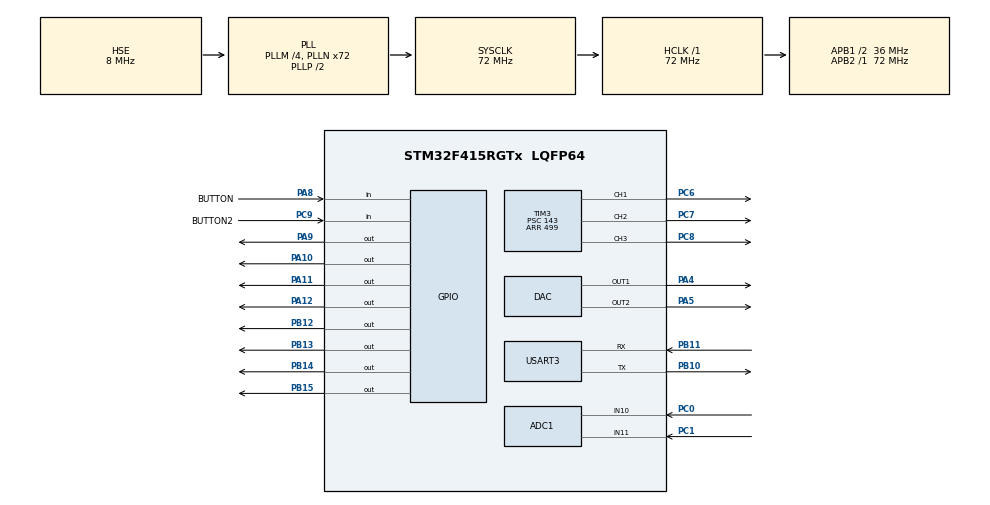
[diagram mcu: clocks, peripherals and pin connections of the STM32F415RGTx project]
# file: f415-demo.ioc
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ADC1.Channel-0\#ChannelRegularConversion=ADC_CHANNEL_10
ADC1.Channel-1\#ChannelRegularConversion=ADC_CHANNEL_11
ADC1.ContinuousConvMode=ENABLE
ADC1.DMAContinuousRequests=ENABLE
ADC1.NbrOfConversion=2
ADC1.NbrOfConversionFlag=1
ADC1.Rank-0\#ChannelRegularConversion=1
ADC1.Rank-1\#ChannelRegularConversion=2
ADC1.SamplingTime-0\#ChannelRegularConversion=ADC_SAMPLETIME_480CYCLES
ADC1.SamplingTime-1\#ChannelRegularConversion=ADC_SAMPLETIME_480CYCLES
ADC1.ScanConvMode=ENABLE
ADC1.master=1
DAC.DAC_Trigger=DAC_TRIGGER_NONE
DAC.DAC_Trigger2=DAC_TRIGGER_NONE
Dma.ADC1.0.Direction=DMA_PERIPH_TO_MEMORY
Dma.ADC1.0.FIFOMode=DMA_FIFOMODE_DISABLE
Dma.ADC1.0.Instance=DMA2_Stream0
Dma.ADC1.0.MemDataAlignment=DMA_MDATAALIGN_HALFWORD
Dma.ADC1.0.MemInc=DMA_MINC_ENABLE
Dma.ADC1.0.Mode=DMA_CIRCULAR
Dma.ADC1.0.PeriphDataAlignment=DMA_PDATAALIGN_HALFWORD
Dma.ADC1.0.PeriphInc=DMA_PINC_DISABLE
Dma.ADC1.0.Priority=DMA_PRIORITY_LOW
Dma.Request0=ADC1
Mcu.Family=STM32F4
Mcu.Name=STM32F415RGTx
Mcu.Package=LQFP64
NVIC.ADC_IRQn=true\:0\:0\:false\:false\:true\:true\:true
NVIC.DMA2_Stream0_IRQn=true\:0\:0\:false\:false\:true\:false\:true
NVIC.PriorityGroup=NVIC_PRIORITYGROUP_4
NVIC.TIM6_DAC_IRQn=true\:0\:0\:false\:false\:true\:true\:true
PA10.Signal=GPIO_Output
PA11.Signal=GPIO_Output
PA12.Signal=GPIO_Output
PA13.Mode=Serial_Wire
PA13.Signal=SYS_JTMS-SWDIO
PA14.Mode=Serial_Wire
PA14.Signal=SYS_JTCK-SWCLK
PA4.Signal=COMP_DAC1_group
PA5.Signal=COMP_DAC2_group
PA8.GPIO_Label=BUTTON
PA8.Signal=GPIO_Input
PA9.Signal=GPIO_Output
PB10.Mode=Asynchronous
PB10.Signal=USART3_TX
PB11.Mode=Asynchronous
PB11.Signal=USART3_RX
PB12.Signal=GPIO_Output
PB13.Signal=GPIO_Output
PB14.Signal=GPIO_Output
PB15.Signal=GPIO_Output
PC0.Signal=ADCx_IN10
PC1.Signal=ADCx_IN11
PC6.Signal=S_TIM3_CH1
PC7.Signal=S_TIM3_CH2
PC8.Signal=S_TIM3_CH3
PC9.GPIO_Label=BUTTON2
PC9.Signal=GPIO_Input
PH0-OSC_IN.Mode=HSE-External-Oscillator
PH0-OSC_IN.Signal=RCC_OSC_IN
PH1-OSC_OUT.Mode=HSE-External-Oscillator
PH1-OSC_OUT.Signal=RCC_OSC_OUT
ProjectManager.HeapSize=0x200
ProjectManager.StackSize=0x400
ProjectManager.TargetToolchain=STM32CubeIDE
RCC.48MHZClocksFreq_Value=36000000
RCC.AHBFreq_Value=72000000
RCC.APB1CLKDivider=RCC_HCLK_DIV2
RCC.APB1Freq_Value=36000000
RCC.APB1TimFreq_Value=72000000
RCC.APB2Freq_Value=72000000
RCC.APB2TimFreq_Value=72000000
RCC.CortexFreq_Value=72000000
RCC.HCLKFreq_Value=72000000
RCC.HSE_VALUE=8000000
RCC.HSI_VALUE=16000000
RCC.LSE_VALUE=32768
RCC.PLLM=4
RCC.PLLN=72
RCC.PLLSourceVirtual=RCC_PLLSOURCE_HSE
RCC.SYSCLKFreq_VALUE=72000000
RCC.SYSCLKSource=RCC_SYSCLKSOURCE_PLLCLK
RCC.VCOOutputFreq_Value=144000000
SH.ADCx_IN10.0=ADC1_IN10,IN10
SH.ADCx_IN11.0=ADC1_IN11,IN11
SH.COMP_DAC1_group.0=DAC_OUT1,DAC_OUT1
SH.COMP_DAC2_group.0=DAC_OUT2,DAC_OUT2
SH.S_TIM3_CH1.0=TIM3_CH1,PWM Generation1 CH1
SH.S_TIM3_CH2.0=TIM3_CH2,PWM Generation2 CH2
SH.S_TIM3_CH3.0=TIM3_CH3,PWM Generation3 CH3
TIM3.Channel-PWM\ Generation1\ CH1=TIM_CHANNEL_1
TIM3.Channel-PWM\ Generation2\ CH2=TIM_CHANNEL_2
TIM3.Channel-PWM\ Generation3\ CH3=TIM_CHANNEL_3
TIM3.Period=499
TIM3.Prescaler=143
TIM6.Period=19
TIM6.Prescaler=3599
USART3.VirtualMode=VM_ASYNC
VP_TIM6_VS_ClockSourceINT.Mode=Enable_Timer
board=custom

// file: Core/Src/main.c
/* USER CODE BEGIN Header */
/**
  ******************************************************************************
  * @file           : main.c
  * @brief          : Main program body
  ******************************************************************************
  * @attention
  *
  * <h2><center>&copy; Copyright (c) 2020 STMicroelectronics.
  * All rights reserved.</center></h2>
  *
  * This software component is licensed by ST under BSD 3-Clause license,
  * the "License"; You may not use this file except in compliance with the
  * License. You may obtain a copy of the License at:
  *                        opensource.org/licenses/BSD-3-Clause
  *
  ******************************************************************************
  */
/* USER CODE END Header */

#include "main.h"

/* USER CODE BEGIN Includes */
#include <stdio.h>
/* USER CODE END Includes */

ADC_HandleTypeDef hadc1;
DMA_HandleTypeDef hdma_adc1;

DAC_HandleTypeDef hdac;

TIM_HandleTypeDef htim3;
TIM_HandleTypeDef htim6;

UART_HandleTypeDef huart3;

/* USER CODE BEGIN PV */

// LED pins port name array
uint32_t portArr[] = {
		GPIOB, GPIOB, GPIOB, GPIOB, GPIOA, GPIOA, GPIOA, GPIOA
};

// LED pin numbers array
uint16_t pinArr[] = {
		GPIO_PIN_12, GPIO_PIN_13, GPIO_PIN_14, GPIO_PIN_15,
		GPIO_PIN_9, GPIO_PIN_10, GPIO_PIN_11, GPIO_PIN_12
};

// timer channels array
uint32_t timerArr[] = {
		TIM_CHANNEL_1, TIM_CHANNEL_2, TIM_CHANNEL_3
};

uint16_t delayTime = 100;			// default delay times
uint64_t timerVal = 0, lastTimerVal = 0, lastUartVal = 0;

int8_t cnt = 0, rgbCnt = 0, animCnt = 0;

uint16_t adcVal[2], pwmVal;

char txt[50];

/* USER CODE END PV */

void SystemClock_Config(void);
static void MX_GPIO_Init(void);
static void MX_DMA_Init(void);
static void MX_ADC1_Init(void);
static void MX_TIM3_Init(void);
static void MX_DAC_Init(void);
static void MX_TIM6_Init(void);
static void MX_USART3_UART_Init(void);
/* USER CODE BEGIN PFP */

// when adc conversion complete this callback function will run
void HAL_ADC_ConvCpltCallback(ADC_HandleTypeDef* hadc)
{
	delayTime = (uint16_t)(adcVal[0] / 8);					// change LED delay time with first potantiomater value
	pwmVal = (uint8_t)(adcVal[1] / 16);						// change RGB brightness with second potatiometer

	__HAL_TIM_SET_COMPARE(&htim3, timerArr[rgbCnt], pwmVal);		// set RGB brightness
}
/* USER CODE END PFP */

int main(void)
{

  /* MCU Configuration--------------------------------------------------------*/

  /* Reset of all peripherals, Initializes the Flash interface and the Systick. */
  HAL_Init();

  /* Configure the system clock */
  SystemClock_Config();

  /* Initialize all configured peripherals */
  MX_GPIO_Init();
  MX_DMA_Init();
  MX_ADC1_Init();
  MX_TIM3_Init();
  MX_DAC_Init();
  MX_TIM6_Init();
  MX_USART3_UART_Init();
  /* USER CODE BEGIN 2 */

  HAL_ADC_Start_DMA(&hadc1, (uint32_t *)adcVal, 2);			// start adc conversion with dma

  // start RGB LED PWM channels
  HAL_TIM_PWM_Start(&htim3, TIM_CHANNEL_1);
  HAL_TIM_PWM_Start(&htim3, TIM_CHANNEL_2);
  HAL_TIM_PWM_Start(&htim3, TIM_CHANNEL_3);

  // start dac channels
  HAL_DAC_Start(&hdac, DAC_CHANNEL_1);
  HAL_DAC_Start(&hdac, DAC_CHANNEL_2);
  /* USER CODE END 2 */

  /* Infinite loop */
  /* USER CODE BEGIN WHILE */
  while (1)
  {

	  // read potantiometer values from adc buffer and write to uart buffer
	  uint8_t t_len = sprintf(txt, "ADC Val: %u %u\n\r", adcVal[0], adcVal[1]);

	  //send uart buffer uisng uart3 which connect with ST-Link
	  HAL_UART_Transmit(&huart3, (uint8_t *)txt, t_len, 1000);

	  // check is button1 pressed
	  if(HAL_GPIO_ReadPin(BUTTON_GPIO_Port, BUTTON_Pin) == GPIO_PIN_SET)
	  {
		  while(HAL_GPIO_ReadPin(BUTTON_GPIO_Port, BUTTON_Pin) == GPIO_PIN_SET) HAL_Delay(10);		//wait when button1 until it realesed

		  animCnt++;						// increase animation counter to show other animation

		  if(animCnt == 3) animCnt = 0;		// if animation counter equals to 3 reset it
	  }

	  // check is button2 pressed
	  if(HAL_GPIO_ReadPin(BUTTON2_GPIO_Port, BUTTON2_Pin) == GPIO_PIN_SET)
	  {
		  while(HAL_GPIO_ReadPin(BUTTON2_GPIO_Port, BUTTON2_Pin) == GPIO_PIN_SET) HAL_Delay(10);	//wait when button2 until it realesed

		  rgbCnt++;							// increase RGB LED counter to change which LED's brightness will control

		  if(rgbCnt == 3) rgbCnt = 0;		// if rgb LED counter equales to 3 reset it
	  }

	  // with 8 LED make animation with changing LED respectively
	  HAL_GPIO_WritePin((GPIO_TypeDef *)portArr[cnt], pinArr[cnt], GPIO_PIN_SET);
	  HAL_Delay(delayTime);
	  HAL_GPIO_WritePin((GPIO_TypeDef *)portArr[cnt], pinArr[cnt], GPIO_PIN_RESET);

	  // change 8 LED animation
	  switch(animCnt){
	  case 0:
		  cnt++;
		  if(cnt == 8) cnt = 0;
		  break;
	  case 1:
		  cnt--;
		  if(cnt < 0) cnt = 7;
		  break;
	  case 2:
		  break;
	  }

	  // write dac values from dac channels depending to adc values
	  HAL_DAC_SetValue(&hdac, DAC_CHANNEL_1, DAC_ALIGN_12B_R, adcVal[0]);
	  HAL_DAC_SetValue(&hdac, DAC_CHANNEL_2, DAC_ALIGN_12B_R, adcVal[1]);

    /* USER CODE END WHILE */

  }
}

void SystemClock_Config(void)
{
  RCC_OscInitTypeDef RCC_OscInitStruct = {0};
  RCC_ClkInitTypeDef RCC_ClkInitStruct = {0};

  /** Configure the main internal regulator output voltage
  */
  __HAL_RCC_PWR_CLK_ENABLE();
  __HAL_PWR_VOLTAGESCALING_CONFIG(PWR_REGULATOR_VOLTAGE_SCALE1);
  /** Initializes the CPU, AHB and APB busses clocks
  */
  RCC_OscInitStruct.OscillatorType = RCC_OSCILLATORTYPE_HSE;
  RCC_OscInitStruct.HSEState = RCC_HSE_ON;
  RCC_OscInitStruct.PLL.PLLState = RCC_PLL_ON;
  RCC_OscInitStruct.PLL.PLLSource = RCC_PLLSOURCE_HSE;
  RCC_OscInitStruct.PLL.PLLM = 4;
  RCC_OscInitStruct.PLL.PLLN = 72;
  RCC_OscInitStruct.PLL.PLLP = RCC_PLLP_DIV2;
  RCC_OscInitStruct.PLL.PLLQ = 4;
  if (HAL_RCC_OscConfig(&RCC_OscInitStruct) != HAL_OK)
  {
    Error_Handler();
  }
  /** Initializes the CPU, AHB and APB busses clocks
  */
  RCC_ClkInitStruct.ClockType = RCC_CLOCKTYPE_HCLK|RCC_CLOCKTYPE_SYSCLK
                              |RCC_CLOCKTYPE_PCLK1|RCC_CLOCKTYPE_PCLK2;
  RCC_ClkInitStruct.SYSCLKSource = RCC_SYSCLKSOURCE_PLLCLK;
  RCC_ClkInitStruct.AHBCLKDivider = RCC_SYSCLK_DIV1;
  RCC_ClkInitStruct.APB1CLKDivider = RCC_HCLK_DIV2;
  RCC_ClkInitStruct.APB2CLKDivider = RCC_HCLK_DIV1;

  if (HAL_RCC_ClockConfig(&RCC_ClkInitStruct, FLASH_LATENCY_2) != HAL_OK)
  {
    Error_Handler();
  }
}

static void MX_ADC1_Init(void)
{

  ADC_ChannelConfTypeDef sConfig = {0};

  /** Configure the global features of the ADC (Clock, Resolution, Data Alignment and number of conversion)
  */
  hadc1.Instance = ADC1;
  hadc1.Init.ClockPrescaler = ADC_CLOCK_SYNC_PCLK_DIV2;
  hadc1.Init.Resolution = ADC_RESOLUTION_12B;
  hadc1.Init.ScanConvMode = ENABLE;
  hadc1.Init.ContinuousConvMode = ENABLE;
  hadc1.Init.DiscontinuousConvMode = DISABLE;
  hadc1.Init.ExternalTrigConvEdge = ADC_EXTERNALTRIGCONVEDGE_NONE;
  hadc1.Init.ExternalTrigConv = ADC_SOFTWARE_START;
  hadc1.Init.DataAlign = ADC_DATAALIGN_RIGHT;
  hadc1.Init.NbrOfConversion = 2;
  hadc1.Init.DMAContinuousRequests = ENABLE;
  hadc1.Init.EOCSelection = ADC_EOC_SINGLE_CONV;
  if (HAL_ADC_Init(&hadc1) != HAL_OK)
  {
    Error_Handler();
  }
  /** Configure for the selected ADC regular channel its corresponding rank in the sequencer and its sample time.
  */
  sConfig.Channel = ADC_CHANNEL_10;
  sConfig.Rank = 1;
  sConfig.SamplingTime = ADC_SAMPLETIME_480CYCLES;
  if (HAL_ADC_ConfigChannel(&hadc1, &sConfig) != HAL_OK)
  {
    Error_Handler();
  }
  /** Configure for the selected ADC regular channel its corresponding rank in the sequencer and its sample time.
  */
  sConfig.Channel = ADC_CHANNEL_11;
  sConfig.Rank = 2;
  if (HAL_ADC_ConfigChannel(&hadc1, &sConfig) != HAL_OK)
  {
    Error_Handler();
  }

}

static void MX_DAC_Init(void)
{

  DAC_ChannelConfTypeDef sConfig = {0};

  /** DAC Initialization
  */
  hdac.Instance = DAC;
  if (HAL_DAC_Init(&hdac) != HAL_OK)
  {
    Error_Handler();
  }
  /** DAC channel OUT1 config
  */
  sConfig.DAC_Trigger = DAC_TRIGGER_NONE;
  sConfig.DAC_OutputBuffer = DAC_OUTPUTBUFFER_ENABLE;
  if (HAL_DAC_ConfigChannel(&hdac, &sConfig, DAC_CHANNEL_1) != HAL_OK)
  {
    Error_Handler();
  }
  /** DAC channel OUT2 config
  */
  if (HAL_DAC_ConfigChannel(&hdac, &sConfig, DAC_CHANNEL_2) != HAL_OK)
  {
    Error_Handler();
  }

}

static void MX_TIM3_Init(void)
{

  TIM_MasterConfigTypeDef sMasterConfig = {0};
  TIM_OC_InitTypeDef sConfigOC = {0};

  htim3.Instance = TIM3;
  htim3.Init.Prescaler = 143;
  htim3.Init.CounterMode = TIM_COUNTERMODE_UP;
  htim3.Init.Period = 499;
  htim3.Init.ClockDivision = TIM_CLOCKDIVISION_DIV1;
  htim3.Init.AutoReloadPreload = TIM_AUTORELOAD_PRELOAD_DISABLE;
  if (HAL_TIM_PWM_Init(&htim3) != HAL_OK)
  {
    Error_Handler();
  }
  sMasterConfig.MasterOutputTrigger = TIM_TRGO_RESET;
  sMasterConfig.MasterSlaveMode = TIM_MASTERSLAVEMODE_DISABLE;
  if (HAL_TIMEx_MasterConfigSynchronization(&htim3, &sMasterConfig) != HAL_OK)
  {
    Error_Handler();
  }
  sConfigOC.OCMode = TIM_OCMODE_PWM1;
  sConfigOC.Pulse = 0;
  sConfigOC.OCPolarity = TIM_OCPOLARITY_HIGH;
  sConfigOC.OCFastMode = TIM_OCFAST_DISABLE;
  if (HAL_TIM_PWM_ConfigChannel(&htim3, &sConfigOC, TIM_CHANNEL_1) != HAL_OK)
  {
    Error_Handler();
  }
  if (HAL_TIM_PWM_ConfigChannel(&htim3, &sConfigOC, TIM_CHANNEL_2) != HAL_OK)
  {
    Error_Handler();
  }
  if (HAL_TIM_PWM_ConfigChannel(&htim3, &sConfigOC, TIM_CHANNEL_3) != HAL_OK)
  {
    Error_Handler();
  }
  HAL_TIM_MspPostInit(&htim3);

}

static void MX_TIM6_Init(void)
{

  TIM_MasterConfigTypeDef sMasterConfig = {0};

  htim6.Instance = TIM6;
  htim6.Init.Prescaler = 3599;
  htim6.Init.CounterMode = TIM_COUNTERMODE_UP;
  htim6.Init.Period = 19;
  htim6.Init.AutoReloadPreload = TIM_AUTORELOAD_PRELOAD_DISABLE;
  if (HAL_TIM_Base_Init(&htim6) != HAL_OK)
  {
    Error_Handler();
  }
  sMasterConfig.MasterOutputTrigger = TIM_TRGO_RESET;
  sMasterConfig.MasterSlaveMode = TIM_MASTERSLAVEMODE_DISABLE;
  if (HAL_TIMEx_MasterConfigSynchronization(&htim6, &sMasterConfig) != HAL_OK)
  {
    Error_Handler();
  }

}

static void MX_USART3_UART_Init(void)
{

  huart3.Instance = USART3;
  huart3.Init.BaudRate = 115200;
  huart3.Init.WordLength = UART_WORDLENGTH_8B;
  huart3.Init.StopBits = UART_STOPBITS_1;
  huart3.Init.Parity = UART_PARITY_NONE;
  huart3.Init.Mode = UART_MODE_TX_RX;
  huart3.Init.HwFlowCtl = UART_HWCONTROL_NONE;
  huart3.Init.OverSampling = UART_OVERSAMPLING_16;
  if (HAL_UART_Init(&huart3) != HAL_OK)
  {
    Error_Handler();
  }

}

static void MX_DMA_Init(void)
{

  /* DMA controller clock enable */
  __HAL_RCC_DMA2_CLK_ENABLE();

  /* DMA interrupt init */
  /* DMA2_Stream0_IRQn interrupt configuration */
  HAL_NVIC_SetPriority(DMA2_Stream0_IRQn, 0, 0);
  HAL_NVIC_EnableIRQ(DMA2_Stream0_IRQn);

}

static void MX_GPIO_Init(void)
{
  GPIO_InitTypeDef GPIO_InitStruct = {0};

  /* GPIO Ports Clock Enable */
  __HAL_RCC_GPIOH_CLK_ENABLE();
  __HAL_RCC_GPIOC_CLK_ENABLE();
  __HAL_RCC_GPIOA_CLK_ENABLE();
  __HAL_RCC_GPIOB_CLK_ENABLE();

  /*Configure GPIO pin Output Level */
  HAL_GPIO_WritePin(GPIOB, GPIO_PIN_12|GPIO_PIN_13|GPIO_PIN_14|GPIO_PIN_15, GPIO_PIN_RESET);

  /*Configure GPIO pin Output Level */
  HAL_GPIO_WritePin(GPIOA, GPIO_PIN_9|GPIO_PIN_10|GPIO_PIN_11|GPIO_PIN_12, GPIO_PIN_RESET);

  /*Configure GPIO pins : PB12 PB13 PB14 PB15 */
  GPIO_InitStruct.Pin = GPIO_PIN_12|GPIO_PIN_13|GPIO_PIN_14|GPIO_PIN_15;
  GPIO_InitStruct.Mode = GPIO_MODE_OUTPUT_PP;
  GPIO_InitStruct.Pull = GPIO_NOPULL;
  GPIO_InitStruct.Speed = GPIO_SPEED_FREQ_LOW;
  HAL_GPIO_Init(GPIOB, &GPIO_InitStruct);

  /*Configure GPIO pin : BUTTON2_Pin */
  GPIO_InitStruct.Pin = BUTTON2_Pin;
  GPIO_InitStruct.Mode = GPIO_MODE_INPUT;
  GPIO_InitStruct.Pull = GPIO_NOPULL;
  HAL_GPIO_Init(BUTTON2_GPIO_Port, &GPIO_InitStruct);

  /*Configure GPIO pin : BUTTON_Pin */
  GPIO_InitStruct.Pin = BUTTON_Pin;
  GPIO_InitStruct.Mode = GPIO_MODE_INPUT;
  GPIO_InitStruct.Pull = GPIO_NOPULL;
  HAL_GPIO_Init(BUTTON_GPIO_Port, &GPIO_InitStruct);

  /*Configure GPIO pins : PA9 PA10 PA11 PA12 */
  GPIO_InitStruct.Pin = GPIO_PIN_9|GPIO_PIN_10|GPIO_PIN_11|GPIO_PIN_12;
  GPIO_InitStruct.Mode = GPIO_MODE_OUTPUT_PP;
  GPIO_InitStruct.Pull = GPIO_NOPULL;
  GPIO_InitStruct.Speed = GPIO_SPEED_FREQ_LOW;
  HAL_GPIO_Init(GPIOA, &GPIO_InitStruct);

}

void Error_Handler(void)
{
  /* USER CODE BEGIN Error_Handler_Debug */
	while(1)
	{
		HAL_GPIO_TogglePin(GPIOB, GPIO_PIN_12);
		HAL_Delay(1000);
	}
  /* User can add his own implementation to report the HAL error return state */

  /* USER CODE END Error_Handler_Debug */
}

/************************ (C) COPYRIGHT STMicroelectronics *****END OF FILE****/
